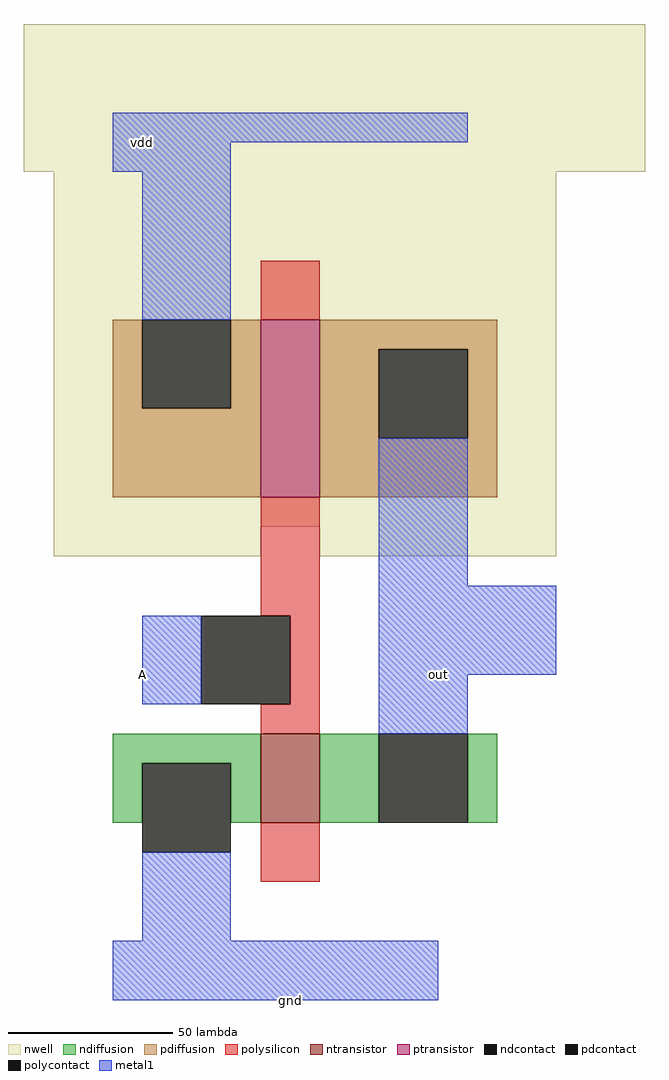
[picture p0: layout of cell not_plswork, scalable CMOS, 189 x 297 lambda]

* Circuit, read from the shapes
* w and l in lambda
.subckt not_plswork A gnd out vdd
M1 out A gnd VSUBS nfet w=27 l=18
M2 out A vdd n1 pfet w=54 l=18
.ends

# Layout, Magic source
magic
tech scmos
magscale 9 1
<< nwell >>
rect -10 10 11 15
rect -9 -2 8 10
rect -9 -3 -2 -2
rect 0 -3 8 -2
<< ntransistor >>
rect -2 -12 0 -9
<< ptransistor >>
rect -2 -1 0 5
<< ndiffusion >>
rect -7 -10 -2 -9
rect -7 -12 -6 -10
rect -3 -12 -2 -10
rect 0 -12 2 -9
rect 5 -12 6 -9
<< pdiffusion >>
rect -7 2 -6 5
rect -3 2 -2 5
rect -7 -1 -2 2
rect 0 4 6 5
rect 0 1 2 4
rect 5 1 6 4
rect 0 -1 6 1
<< ndcontact >>
rect -6 -13 -3 -10
rect 2 -12 5 -9
<< pdcontact >>
rect -6 2 -3 5
rect 2 1 5 4
<< polysilicon >>
rect -2 5 0 7
rect -2 -5 0 -1
rect -1 -8 0 -5
rect -2 -9 0 -8
rect -2 -14 0 -12
<< polycontact >>
rect -4 -8 -1 -5
<< metal1 >>
rect -7 11 5 12
rect -7 10 -3 11
rect -6 5 -3 10
rect 2 -4 5 1
rect -6 -8 -4 -5
rect 2 -7 8 -4
rect 2 -9 5 -7
rect -6 -16 -3 -13
rect -7 -18 4 -16
<< labels >>
rlabel metal1 -6 -7 -6 -7 1 A
rlabel metal1 4 -7 4 -7 1 out
rlabel metal1 -6 11 -6 11 1 vdd
rlabel metal1 -1 -18 -1 -18 1 gnd
<< end >>
